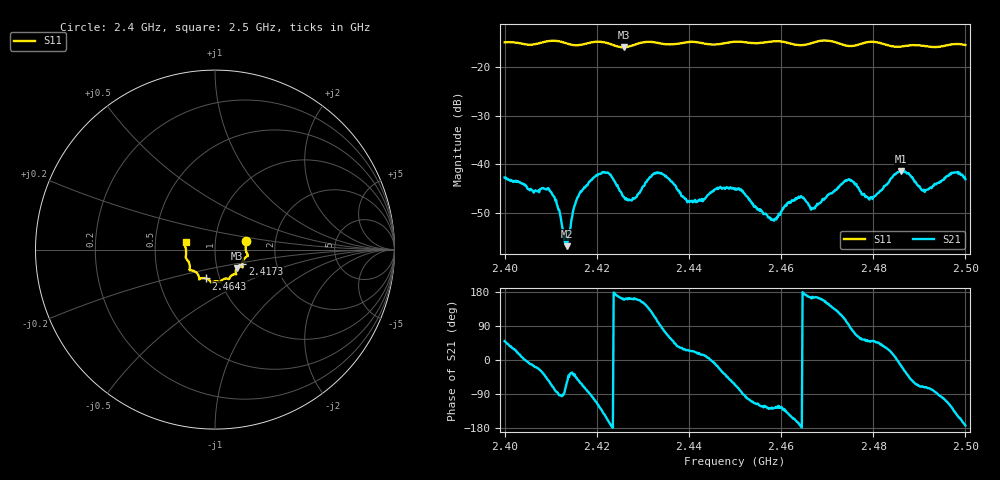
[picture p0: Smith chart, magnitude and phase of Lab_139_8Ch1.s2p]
# Hz S RI R 50
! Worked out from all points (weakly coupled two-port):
!   601 points, 2.4 GHz to 2.5 GHz, reference 50 ohm
!   highest |S21| = -41.40 dB at 2.486 GHz (marker M1); lowest = -56.9 dB at 2.4135 GHz (marker M2)
!   lowest |S11| = -15.9 dB at 2.4258 GHz (marker M3), VSWR 1.38, Z = 62.3 - j13.3 ohm
!   |S11| at or under -10 dB: start of sweep to end of sweep
!   S12 and S22 are empty: the file has one direction only
!   S11 on the Smith chart (normalised r, x): 2.4 GHz: 1.41, +0.14; 2.4173 GHz: 1.34, -0.23; 2.4643 GHz: 0.86, -0.29; 2.5 GHz: 0.72, +0.06
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2.4e9  0.1733 0.0492  0.00472 0.00559  0 0  0 0
2.409833e9  0.1833 -0.0318  0.00265 -0.00455  0 0  0 0
2.4135e9  0.17 -0.0436  0.000741 -0.00123  0 0  0 0
2.415333e9  0.1575 -0.0594  0.0029 -0.00263  0 0  0 0
2.416667e9  0.153 -0.0745  0.00243 -0.00464  0 0  0 0
2.417333e9  0.1523 -0.082  0.00167 -0.0056  0 0  0 0
2.422e9  0.1514 -0.0948  -0.00714 -0.00403  0 0  0 0
2.425833e9  0.1216 -0.1038  -0.00436 0.00163  0 0  0 0
2.428167e9  0.1148 -0.1251  -0.00424 0.00129  0 0  0 0
2.433333e9  0.1131 -0.1366  -0.0013 0.008  0 0  0 0
2.44e9  0.0795 -0.1632  0.00383 0.00176  0 0  0 0
2.45e9  0.0292 -0.1807  0.00223 -0.00502  0 0  0 0
2.458333e9  -0.0197 -0.1836  -0.00164 -0.00214  0 0  0 0
2.464333e9  -0.0501 -0.1608  -0.00469 -0.00043  0 0  0 0
2.466667e9  -0.076 -0.1597  -0.00339 0.00106  0 0  0 0
2.474333e9  -0.0999 -0.1323  -0.001 0.00679  0 0  0 0
2.479333e9  -0.1416 -0.1147  0.00303 0.00339  0 0  0 0
2.483333e9  -0.1407 -0.0901  0.00577 0.00297  0 0  0 0
2.486e9  -0.15 -0.0632  0.00826 -0.00206  0 0  0 0
2.491e9  -0.162 -0.0341  0.00174 -0.0052  0 0  0 0
2.4975e9  -0.1701 0.0287  -0.00576 -0.0059  0 0  0 0
2.5e9  -0.1637 0.0417  -0.00696 -0.000874  0 0  0 0
